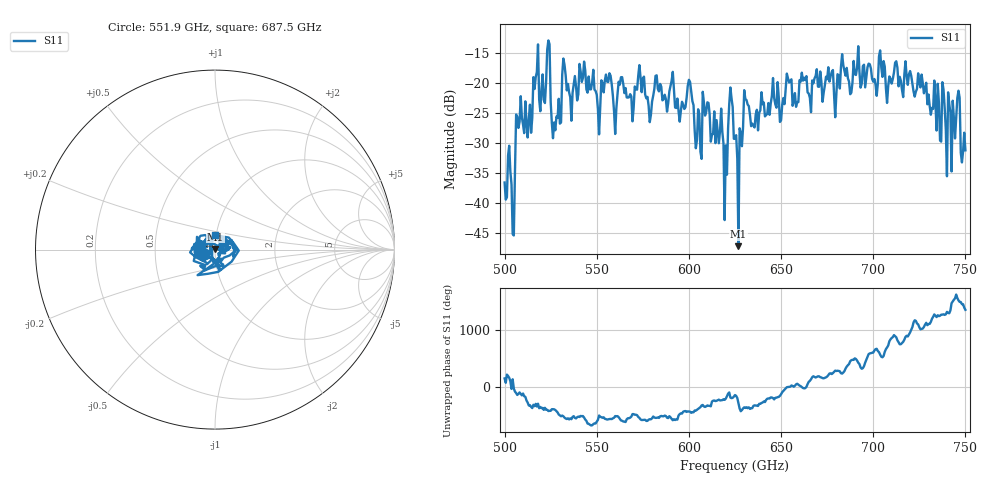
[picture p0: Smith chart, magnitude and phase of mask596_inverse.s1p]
!Created with skrf (http://scikit-rf.org).
# GHz S MA R 50.0
!freq magS11 angS11
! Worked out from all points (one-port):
!   401 points, 500 GHz to 750 GHz, reference 50 ohm
!   lowest |S11| = -47.1 dB at 626.9 GHz (marker M1), VSWR 1.01, Z = 50.1 + j0.427 ohm
!   |S11| at or under -10 dB: start of sweep to end of sweep
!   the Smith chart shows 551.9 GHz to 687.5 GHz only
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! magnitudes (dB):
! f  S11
! 500 GHz  -36.6
! 504.4 GHz  -45.1
! 507.5 GHz  -27.5
! 513.8 GHz  -23.7
! 516.9 GHz  -19.1
! 520.6 GHz  -18.6
! 523.8 GHz  -13.0
! 526.9 GHz  -26.6
! 531.2 GHz  -18.7
! 550.6 GHz  -24.4
! 556.2 GHz  -19.9
! 560 GHz  -28.5
! 562.5 GHz  -20.3
! 593.8 GHz  -22.6
! 600.6 GHz  -19.9
! 605.6 GHz  -25.2
! 608.8 GHz  -25.5
! 619.4 GHz  -42.8
! 622.5 GHz  -20.8
! 625 GHz  -29.3
! 626.9 GHz  -47.1
! 631.2 GHz  -22.9
! 656.2 GHz  -23.8
! 687.5 GHz  -21.9
! 718.8 GHz  -20.4
! 741.2 GHz  -23.6
! 745.6 GHz  -22.5
! 750 GHz  -31.2
